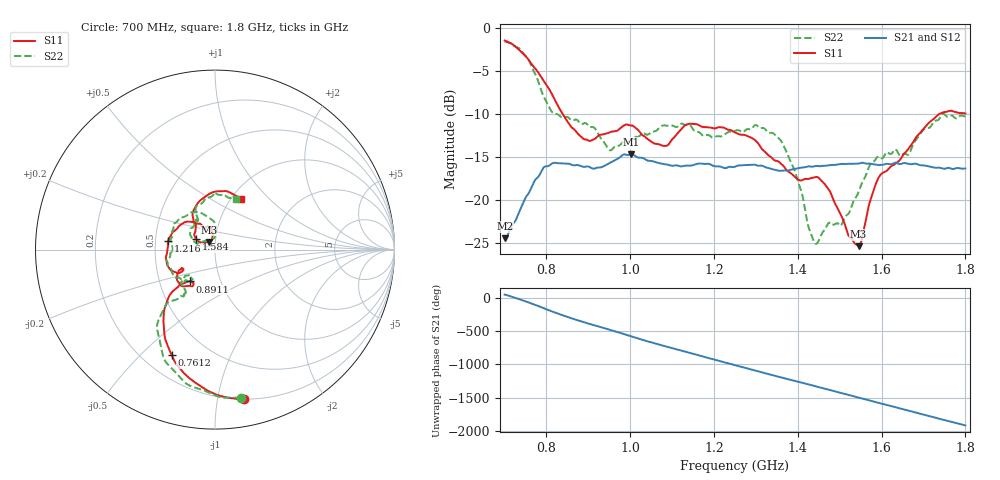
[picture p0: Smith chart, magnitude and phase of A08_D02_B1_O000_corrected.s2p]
! Created with skrf 1.9.0 (http://scikit-rf.org).
# Hz S RI R 50.0
!freq ReS11 ImS11 ReS21 ImS21 ReS12 ImS12 ReS22 ImS22
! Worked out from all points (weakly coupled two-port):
!   1601 points, 700 MHz to 1.8 GHz, reference 50 ohm
!   highest |S21| = -14.65 dB at 1.002 GHz (marker M1); lowest = -24.4 dB at 700.7 MHz (marker M2)
!   lowest |S11| = -25.3 dB at 1.545 GHz (marker M3), VSWR 1.11, Z = 46.6 + j3.96 ohm
!   |S11| at or under -10 dB: 838.9 MHz to 1.736 GHz (897.4 MHz wide, 69.7 % of centre)
!   |S22| runs from -25.1 to -1.5 dB; largest |S21 - S12| = 0.0035
!   S11 on the Smith chart (normalised r, x): 700 MHz: 0.20, -1.19; 761.2 MHz: 0.32, -0.62; 891.1 MHz: 0.71, -0.27; 1.216 GHz: 0.58, +0.06; 1.584 GHz: 0.80, +0.10; 1.8 GHz: 1.11, +0.70
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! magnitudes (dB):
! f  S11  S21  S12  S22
! 700 MHz  -1.4  -24.4  -24.2  -1.5
! 700.7 MHz  -1.4  -24.4  -24.1  -1.5
! 761.2 MHz  -3.9  -18.8  -18.7  -4.0
! 813.4 MHz  -7.7  -15.7  -15.7  -9.8
! 883.6 MHz  -12.7  -16.1  -15.9  -11.1
! 891.1 MHz  -12.9  -16.1  -16.1  -11.0
! 951.6 MHz  -12.1  -15.7  -15.7  -14.2
! 1.002 GHz  -11.3  -14.7  -14.8  -13.0
! 1.067 GHz  -13.5  -15.7  -15.6  -11.7
! 1.138 GHz  -11.1  -16.0  -15.9  -11.2
! 1.216 GHz  -11.5  -16.1  -16.1  -12.6
! 1.25 GHz  -12.1  -16.1  -16.0  -11.9
! 1.359 GHz  -15.7  -16.6  -16.5  -13.0
! 1.396 GHz  -17.4  -16.3  -16.3  -17.0
! 1.434 GHz  -17.4  -16.1  -16.1  -24.2
! 1.504 GHz  -21.8  -15.8  -15.8  -22.9
! 1.545 GHz  -25.3  -15.7  -15.7  -19.1
! 1.584 GHz  -18.4  -15.8  -15.8  -15.3
! 1.617 GHz  -16.3  -15.8  -15.8  -14.5
! 1.663 GHz  -14.1  -15.7  -15.7  -14.7
! 1.736 GHz  -10.0  -16.2  -16.3  -10.6
! 1.8 GHz  -9.9  -16.3  -16.3  -10.2
